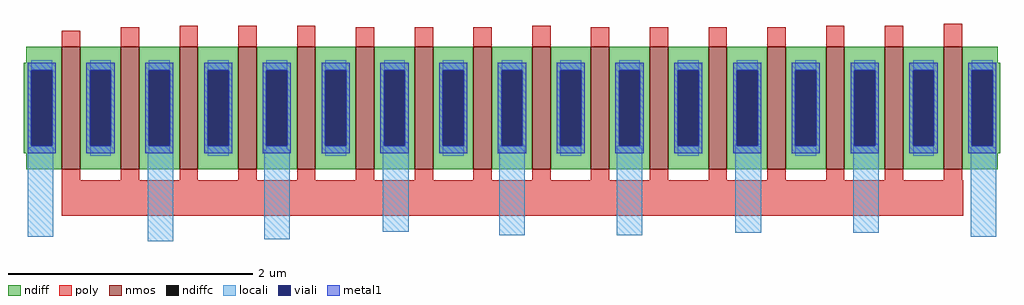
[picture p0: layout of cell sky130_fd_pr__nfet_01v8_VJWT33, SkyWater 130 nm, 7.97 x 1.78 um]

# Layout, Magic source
magic
tech sky130A
magscale 1 2
<< nmos >>
rect -735 -100 -705 100
rect -639 -100 -609 100
rect -543 -100 -513 100
rect -447 -100 -417 100
rect -351 -100 -321 100
rect -255 -100 -225 100
rect -159 -100 -129 100
rect -63 -100 -33 100
rect 33 -100 63 100
rect 129 -100 159 100
rect 225 -100 255 100
rect 321 -100 351 100
rect 417 -100 447 100
rect 513 -100 543 100
rect 609 -100 639 100
rect 705 -100 735 100
<< ndiff >>
rect -793 74 -735 100
rect -797 62 -735 74
rect -797 -62 -785 62
rect -751 -62 -735 62
rect -797 -74 -735 -62
rect -793 -100 -735 -74
rect -705 62 -639 100
rect -705 -62 -689 62
rect -655 -62 -639 62
rect -705 -100 -639 -62
rect -609 62 -543 100
rect -609 -62 -593 62
rect -559 -62 -543 62
rect -609 -100 -543 -62
rect -513 62 -447 100
rect -513 -62 -497 62
rect -463 -62 -447 62
rect -513 -100 -447 -62
rect -417 62 -351 100
rect -417 -62 -401 62
rect -367 -62 -351 62
rect -417 -100 -351 -62
rect -321 62 -255 100
rect -321 -62 -305 62
rect -271 -62 -255 62
rect -321 -100 -255 -62
rect -225 62 -159 100
rect -225 -62 -209 62
rect -175 -62 -159 62
rect -225 -100 -159 -62
rect -129 62 -63 100
rect -129 -62 -113 62
rect -79 -62 -63 62
rect -129 -100 -63 -62
rect -33 62 33 100
rect -33 -62 -17 62
rect 17 -62 33 62
rect -33 -100 33 -62
rect 63 62 129 100
rect 63 -62 79 62
rect 113 -62 129 62
rect 63 -100 129 -62
rect 159 62 225 100
rect 159 -62 175 62
rect 209 -62 225 62
rect 159 -100 225 -62
rect 255 62 321 100
rect 255 -62 271 62
rect 305 -62 321 62
rect 255 -100 321 -62
rect 351 62 417 100
rect 351 -62 367 62
rect 401 -62 417 62
rect 351 -100 417 -62
rect 447 62 513 100
rect 447 -62 463 62
rect 497 -62 513 62
rect 447 -100 513 -62
rect 543 62 609 100
rect 543 -62 559 62
rect 593 -62 609 62
rect 543 -100 609 -62
rect 639 62 705 100
rect 639 -62 655 62
rect 689 -62 705 62
rect 639 -100 705 -62
rect 735 74 793 100
rect 735 62 797 74
rect 735 -62 751 62
rect 785 -62 797 62
rect 735 -74 797 -62
rect 735 -100 793 -74
<< ndiffc >>
rect -785 -62 -751 62
rect -689 -62 -655 62
rect -593 -62 -559 62
rect -497 -62 -463 62
rect -401 -62 -367 62
rect -305 -62 -271 62
rect -209 -62 -175 62
rect -113 -62 -79 62
rect -17 -62 17 62
rect 79 -62 113 62
rect 175 -62 209 62
rect 271 -62 305 62
rect 367 -62 401 62
rect 463 -62 497 62
rect 559 -62 593 62
rect 655 -62 689 62
rect 751 -62 785 62
<< poly >>
rect -735 100 -705 126
rect -639 100 -609 132
rect -543 100 -513 134
rect -447 100 -417 134
rect -351 100 -321 134
rect -255 100 -225 132
rect -159 100 -129 132
rect -63 100 -33 132
rect 33 100 63 134
rect 129 100 159 132
rect 225 100 255 132
rect 321 100 351 132
rect 417 100 447 132
rect 513 100 543 134
rect 609 100 639 134
rect 705 100 735 138
rect -735 -118 -705 -100
rect -639 -118 -609 -100
rect -543 -118 -513 -100
rect -447 -118 -417 -100
rect -351 -118 -321 -100
rect -255 -118 -225 -100
rect -159 -118 -129 -100
rect -63 -118 -33 -100
rect 33 -118 63 -100
rect 129 -118 159 -100
rect 225 -118 255 -100
rect 321 -118 351 -100
rect 417 -118 447 -100
rect 513 -118 543 -100
rect 609 -118 639 -100
rect 705 -118 735 -100
rect -735 -176 737 -118
<< locali >>
rect -785 62 -751 78
rect -785 -64 -751 -62
rect -689 62 -655 78
rect -791 -210 -749 -64
rect -689 -78 -655 -62
rect -593 62 -559 78
rect -593 -72 -559 -62
rect -497 62 -463 78
rect -595 -218 -553 -72
rect -497 -78 -463 -62
rect -401 62 -367 78
rect -401 -68 -367 -62
rect -305 62 -271 78
rect -209 62 -175 78
rect -405 -214 -363 -68
rect -305 -78 -271 -62
rect -211 -62 -209 -56
rect -113 62 -79 78
rect -175 -62 -169 -56
rect -211 -202 -169 -62
rect -17 62 17 78
rect 79 62 113 78
rect 175 62 209 78
rect 271 62 305 78
rect 367 62 401 78
rect -113 -78 -79 -62
rect -21 -208 21 -62
rect 79 -78 113 -62
rect 171 -208 213 -62
rect 271 -78 305 -62
rect 365 -62 367 -58
rect 463 62 497 78
rect 401 -62 407 -58
rect 365 -204 407 -62
rect 559 62 593 78
rect 463 -78 497 -62
rect 557 -62 559 -58
rect 655 62 689 78
rect 593 -62 599 -58
rect 557 -204 599 -62
rect 655 -78 689 -62
rect 751 62 785 78
rect 751 -64 785 -62
rect 749 -210 791 -64
<< viali >>
rect -785 -62 -751 62
rect -689 -62 -655 62
rect -593 -62 -559 62
rect -497 -62 -463 62
rect -401 -62 -367 62
rect -305 -62 -271 62
rect -209 -62 -175 62
rect -113 -62 -79 62
rect -17 -62 17 62
rect 79 -62 113 62
rect 175 -62 209 62
rect 271 -62 305 62
rect 367 -62 401 62
rect 463 -62 497 62
rect 559 -62 593 62
rect 655 -62 689 62
rect 751 -62 785 62
<< metal1 >>
rect -791 62 -745 74
rect -791 -62 -785 62
rect -751 -62 -745 62
rect -791 -74 -745 -62
rect -695 62 -649 74
rect -695 -62 -689 62
rect -655 -62 -649 62
rect -695 -74 -649 -62
rect -599 62 -553 74
rect -599 -62 -593 62
rect -559 -62 -553 62
rect -599 -74 -553 -62
rect -503 62 -457 74
rect -503 -62 -497 62
rect -463 -62 -457 62
rect -503 -74 -457 -62
rect -407 62 -361 74
rect -407 -62 -401 62
rect -367 -62 -361 62
rect -407 -74 -361 -62
rect -311 62 -265 74
rect -311 -62 -305 62
rect -271 -62 -265 62
rect -311 -74 -265 -62
rect -215 62 -169 74
rect -215 -62 -209 62
rect -175 -62 -169 62
rect -215 -74 -169 -62
rect -119 62 -73 74
rect -119 -62 -113 62
rect -79 -62 -73 62
rect -119 -74 -73 -62
rect -23 62 23 74
rect -23 -62 -17 62
rect 17 -62 23 62
rect -23 -74 23 -62
rect 73 62 119 74
rect 73 -62 79 62
rect 113 -62 119 62
rect 73 -74 119 -62
rect 169 62 215 74
rect 169 -62 175 62
rect 209 -62 215 62
rect 169 -74 215 -62
rect 265 62 311 74
rect 265 -62 271 62
rect 305 -62 311 62
rect 265 -74 311 -62
rect 361 62 407 74
rect 361 -62 367 62
rect 401 -62 407 62
rect 361 -74 407 -62
rect 457 62 503 74
rect 457 -62 463 62
rect 497 -62 503 62
rect 457 -74 503 -62
rect 553 62 599 74
rect 553 -62 559 62
rect 593 -62 599 62
rect 553 -74 599 -62
rect 649 62 695 74
rect 649 -62 655 62
rect 689 -62 695 62
rect 649 -74 695 -62
rect 745 62 791 74
rect 745 -62 751 62
rect 785 -62 791 62
rect 745 -74 791 -62
<< properties >>
string gencell sky130_fd_pr__nfet_01v8
string library sky130
string parameters w 1 l 0.150 m 1 nf 16 diffcov 70 polycov 70 guard 0 glc 0 grc 0 gtc 0 gbc 0 tbcov 70 rlcov 70 topc 0 botc 0 poverlap 0 doverlap 1 lmin 0.15 wmin 0.42 compatible {sky130_fd_pr__nfet_01v8 sky130_fd_pr__nfet_01v8_lvt  sky130_fd_bs_flash__special_sonosfet_star  sky130_fd_pr__nfet_g5v0d10v5 sky130_fd_pr__nfet_05v0_nvt  sky130_fd_pr__nfet_03v3_nvt} full_metal 0 viasrc 70 viadrn 70 viagate 70 viagb 0 viagr 0 viagl 0 viagt 0
<< end >>
